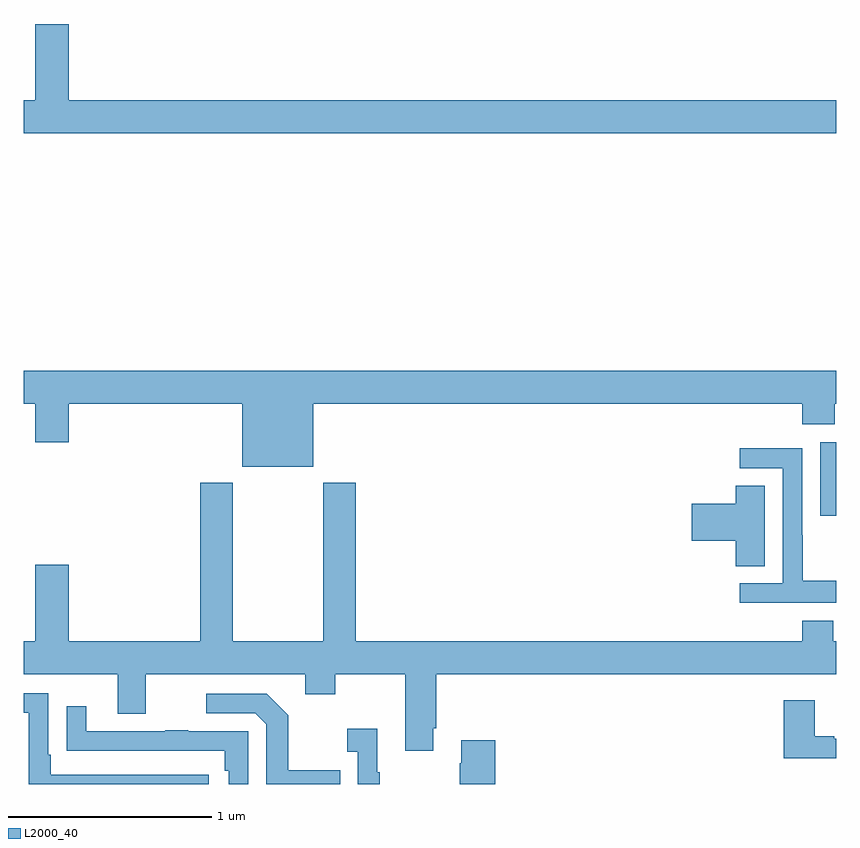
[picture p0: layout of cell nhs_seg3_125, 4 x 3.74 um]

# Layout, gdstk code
import gdstk
lib = gdstk.Library(unit=1e-6, precision=1e-09)
def R(c, l, rs):  # rectangles x0, y0, x1, y1
    for r in rs: c.add(gdstk.rectangle(r[:2], r[2:], *l))
def P(c, l, *ps):  # polygons
    for p in ps: c.add(gdstk.Polygon(p, *l))
L2000_40 = (2000, 40)

nhs_seg3_125 = lib.new_cell('nhs_seg3_125')
R(nhs_seg3_125, L2000_40, [(120.923,677.721,121,678.082)])
P(nhs_seg3_125, L2000_40, [(121,679.768),(117.22,679.768),(117.22,680.143),(117.056,680.143),(117.056,679.768),(117,679.768),(117,679.604),(121,679.604)],
  [(118.426,678.272),(120.833,678.272),(120.833,678.173),(120.993,678.173),(120.993,678.272),(121,678.272),(121,678.436),(117,678.436),(117,678.272),(117.056,678.272),(117.056,678.084),(117.22,678.084),(117.22,678.272),(118.076,678.272),(118.076,677.963),(118.426,677.963)],
  [(121,677.401),(120.837,677.401),(120.837,677.624),(120.834,677.624),(120.834,678.054),(120.525,678.054),(120.525,677.955),(120.738,677.955),(120.738,677.388),(120.525,677.388),(120.525,677.292),(121,677.292)],
  [(119.017,676.675),(119.03,676.675),(119.03,676.94),(121,676.94),(121,677.104),(120.985,677.104),(120.985,677.203),(120.833,677.203),(120.833,677.104),(118.634,677.104),(118.634,677.884),(118.474,677.884),(118.474,677.104),(118.029,677.104),(118.029,677.884),(117.869,677.884),(117.869,677.104),(117.22,677.104),(117.22,677.479),(117.056,677.479),(117.056,677.104),(117,677.104),(117,676.94),(117.461,676.94),(117.461,676.746),(117.601,676.746),(117.601,676.94),(118.385,676.94),(118.385,676.841),(118.533,676.841),(118.533,676.94),(118.877,676.94),(118.877,676.563),(119.017,676.563)],
  [(120.649,677.87),(120.506,677.87),(120.506,677.78),(120.288,677.78),(120.288,677.597),(120.506,677.597),(120.506,677.473),(120.649,677.473)],
  [(117.91,676.446),(117.133,676.446),(117.133,676.543),(117.12,676.543),(117.12,676.848),(117,676.848),(117,676.752),(117.024,676.752),(117.024,676.4),(117.91,676.4)],
  [(118.559,676.467),(118.303,676.467),(118.303,676.739),(118.197,676.845),(117.897,676.845),(117.897,676.749),(118.14,676.749),(118.194,676.695),(118.194,676.4),(118.559,676.4)],
  [(121,676.623),(120.991,676.623),(120.991,676.636),(120.895,676.636),(120.895,676.813),(120.743,676.813),(120.743,676.526),(121,676.526)],
  [(118.104,676.659),(117.809,676.659),(117.809,676.664),(117.697,676.664),(117.697,676.659),(117.307,676.659),(117.307,676.783),(117.211,676.783),(117.211,676.564),(117.313,676.564),(117.313,676.563),(117.988,676.563),(117.988,676.466),(118.008,676.466),(118.008,676.4),(118.104,676.4)],
  [(118.753,676.459),(118.741,676.459),(118.741,676.672),(118.593,676.672),(118.593,676.559),(118.644,676.559),(118.644,676.4),(118.753,676.4)],
  [(119.321,676.615),(119.153,676.615),(119.153,676.502),(119.146,676.502),(119.146,676.4),(119.321,676.4)])

lib.write_gds('nhs_seg3_125.gds')
